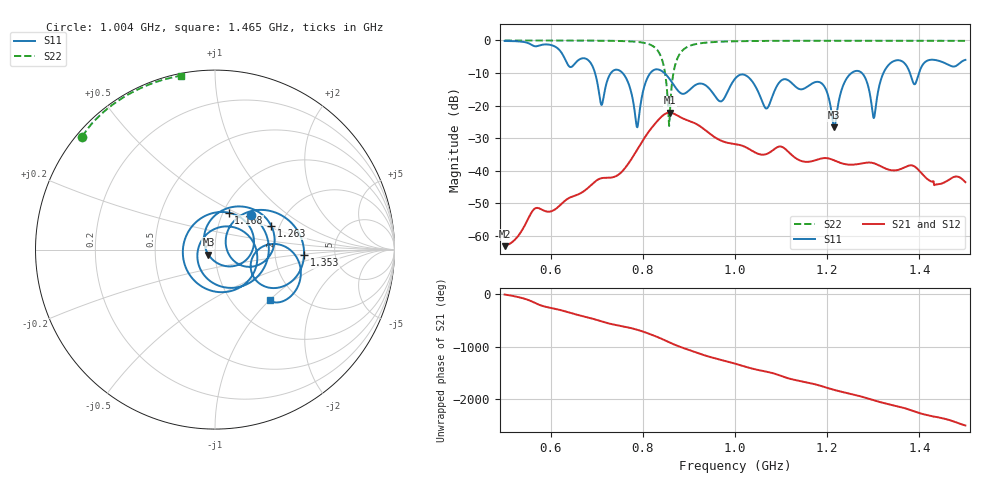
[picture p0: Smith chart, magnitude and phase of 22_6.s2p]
! TOUCHSTONE file generated by CST MICROWAVE STUDIO
! Date and time: Tue Nov 24 13:43:44 2020
! Project name: Scenario_1_Planar_Body_Tissue_Out_of_Line.cst
! Parameters = {dy1=17.3; L_HA=400; Ltissue=700; MT=2.54; Rad_Dielectric=30; Rad_Lower=7.3; Rad_Upper=30; Wtissue=700; a_HA=580; a_WG=246; b_HA=500; b_WG=121; c_HA=0; c_WG=187; d_feed=85; dx1=1039; h_feed=15; h_lower=18; h_upper=40; hfat=3; hgap=25; hmuscle=50; hskin=1.5}
! Header version: 2018
! Port assignment regex: !\s*Touchstone port\s*([0-9]+)\s*=\s*(CST MWS port|CST DS port)\s*([0-9]+|Zmin|Zmax)\s*\(\"(.*)\"\)(\s*mode\s*([0-9]+))?.*
! Touchstone port assignment:
! Touchstone port 1 = CST MWS port 1 ("")
! Touchstone port 2 = CST MWS port 2 ("")
# GHz S DB R 50
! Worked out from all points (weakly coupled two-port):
!   1003 points, 500 MHz to 1.5 GHz, reference 50 ohm
!   highest |S21| = -22.18 dB at 858 MHz (marker M1); lowest = -63.2 dB at 500 MHz (marker M2)
!   lowest |S11| = -26.7 dB at 1.215 GHz (marker M3), VSWR 1.10, Z = 46.4 - j2.57 ohm
!   |S11| at or under -10 dB: 756 MHz to 816.4 MHz (60.44 MHz wide, 7.69 % of centre); 846.6 MHz to 1.253 GHz (406.3 MHz wide, 38.7 % of centre); 1.275 GHz to 1.322 GHz (46.9 MHz wide, 3.61 % of centre)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
!   |S22| runs from -26.3 to 0.0 dB; largest |S21 - S12| = 7.9e-05
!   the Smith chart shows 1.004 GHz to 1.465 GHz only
!   S11 on the Smith chart (normalised r, x): 1.004 GHz: 1.36, +0.56; 1.168 GHz: 1.06, +0.46; 1.263 GHz: 1.82, +0.53; 1.353 GHz: 2.95, -0.24; 1.465 GHz: 1.48, -1.00
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0.5  -0.16 -121.6  -63.24 -16.6  -63.24 -16.6  -0.01 151.1
0.596  -1.29 -172.8  -52.63 97.8  -52.63 97.8  -0.02 144.4
0.667  -5.54 151.5  -46.80 -59.5  -46.80 -59.5  -0.04 138.4
0.71  -19.82 -32.9  -42.35 -164.8  -42.35 -164.8  -0.08 133.6
0.756  -10.00 118.8  -40.13 104.1  -40.13 104.1  -0.19 126.2
0.788  -26.69 -49.9  -33.52 36.9  -33.52 36.9  -0.45 117.5
0.834  -8.94 84.0  -24.38 -108.3  -24.38 -108.3  -3.49 82.4
0.858  -11.84 -3.2  -22.18 157.3  -22.18 157.3  -24.46 -85.6
0.887  -16.42 -140.1  -23.98 55.0  -23.98 55.0  -2.95 178.6
1  -11.78 58.7  -31.85 117.0  -31.86 117.0  -0.26 140.1
1.004  -11.18 43.8  -31.95 106.9  -31.95 106.9  -0.25 139.6
1.068  -20.93 153.9  -34.94 -35.0  -34.94 -35.0  -0.14 132.5
1.117  -12.38 -80.6  -34.40 -164.2  -34.40 -164.2  -0.11 128.2
1.167  -13.25 72.9  -37.13 100.3  -37.13 100.3  -0.10 124.1
1.168  -13.18 69.7  -37.09 98.2  -37.09 98.2  -0.10 124.1
1.215  -26.75 -143.1  -36.86 -19.3  -36.86 -19.3  -0.09 120.5
1.263  -9.36 22.4  -38.09 -120.1  -38.09 -120.1  -0.09 116.8
1.301  -23.86 8.7  -37.74 144.3  -37.74 144.3  -0.08 114.0
1.334  -7.43 25.5  -39.74 68.0  -39.74 68.0  -0.09 111.5
1.353  -6.07 -3.6  -39.83 29.5  -39.83 29.5  -0.09 110.0
1.465  -7.62 -42.4  -42.74 130.5  -42.74 130.5  -0.11 100.9
1.5  -5.98 -42.4  -43.56 27.8  -43.56 27.8  -0.13 97.9
